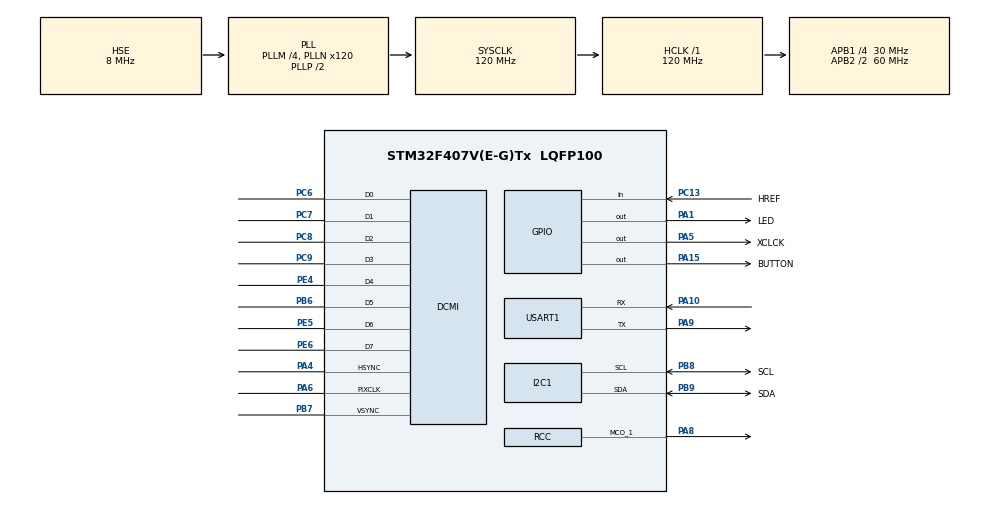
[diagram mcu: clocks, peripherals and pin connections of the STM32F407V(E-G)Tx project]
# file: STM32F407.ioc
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DCMI.HSPolarity=DCMI_HSPOLARITY_HIGH
DCMI.JPEGMode=DCMI_JPEG_DISABLE
DCMI.PCKPolarity=DCMI_PCKPOLARITY_RISING
DCMI.VSPolarity=DCMI_VSPOLARITY_HIGH
Dma.DCMI.0.Direction=DMA_PERIPH_TO_MEMORY
Dma.DCMI.0.FIFOMode=DMA_FIFOMODE_DISABLE
Dma.DCMI.0.Instance=DMA2_Stream1
Dma.DCMI.0.MemDataAlignment=DMA_MDATAALIGN_WORD
Dma.DCMI.0.MemInc=DMA_MINC_ENABLE
Dma.DCMI.0.Mode=DMA_NORMAL
Dma.DCMI.0.PeriphDataAlignment=DMA_PDATAALIGN_WORD
Dma.DCMI.0.PeriphInc=DMA_PINC_DISABLE
Dma.DCMI.0.Priority=DMA_PRIORITY_HIGH
Dma.Request0=DCMI
Dma.Request1=USART1_TX
Dma.USART1_TX.1.Direction=DMA_MEMORY_TO_PERIPH
Dma.USART1_TX.1.FIFOMode=DMA_FIFOMODE_DISABLE
Dma.USART1_TX.1.Instance=DMA2_Stream7
Dma.USART1_TX.1.MemDataAlignment=DMA_MDATAALIGN_BYTE
Dma.USART1_TX.1.MemInc=DMA_MINC_ENABLE
Dma.USART1_TX.1.Mode=DMA_NORMAL
Dma.USART1_TX.1.PeriphDataAlignment=DMA_PDATAALIGN_BYTE
Dma.USART1_TX.1.PeriphInc=DMA_PINC_DISABLE
Dma.USART1_TX.1.Priority=DMA_PRIORITY_LOW
Mcu.Family=STM32F4
Mcu.Name=STM32F407V(E-G)Tx
Mcu.Package=LQFP100
NVIC.DCMI_IRQn=true\:0\:0\:false\:false\:true\:true\:true\:false
NVIC.DMA2_Stream7_IRQn=true\:0\:0\:false\:false\:true\:true\:true\:true
NVIC.PriorityGroup=NVIC_PRIORITYGROUP_4
NVIC.USART1_IRQn=true\:0\:0\:false\:false\:true\:true\:true\:true
PA1.GPIO_Label=LED
PA1.GPIO_PuPd=GPIO_PULLDOWN
PA1.Signal=GPIO_Output
PA10.Mode=Asynchronous
PA10.Signal=USART1_RX
PA13.Mode=Serial_Wire
PA13.Signal=SYS_JTMS-SWDIO
PA14.Mode=Serial_Wire
PA14.Signal=SYS_JTCK-SWCLK
PA15.GPIO_Label=BUTTON
PA15.Signal=GPIO_Output
PA4.GPIO_Mode=GPIO_MODE_AF_PP
PA4.GPIO_PuPd=GPIO_NOPULL
PA4.Mode=Slave_8_bits_External_Synchro
PA4.Signal=DCMI_HSYNC
PA5.GPIO_Label=XCLCK
PA5.GPIO_Speed=GPIO_SPEED_FREQ_MEDIUM
PA5.Signal=GPIO_Output
PA6.GPIO_Mode=GPIO_MODE_AF_PP
PA6.GPIO_PuPd=GPIO_NOPULL
PA6.Mode=Slave_8_bits_External_Synchro
PA6.Signal=DCMI_PIXCLK
PA8.Mode=Clock-out-1
PA8.Signal=RCC_MCO_1
PA9.Mode=Asynchronous
PA9.Signal=USART1_TX
PB6.GPIO_Mode=GPIO_MODE_AF_PP
PB6.GPIO_PuPd=GPIO_NOPULL
PB6.Mode=Slave_8_bits_External_Synchro
PB6.Signal=DCMI_D5
PB7.GPIO_Mode=GPIO_MODE_AF_PP
PB7.GPIO_PuPd=GPIO_NOPULL
PB7.Mode=Slave_8_bits_External_Synchro
PB7.Signal=DCMI_VSYNC
PB8.GPIO_Label=SCL
PB8.Mode=I2C
PB8.Signal=I2C1_SCL
PB9.GPIO_Label=SDA
PB9.Mode=I2C
PB9.Signal=I2C1_SDA
PC13-ANTI_TAMP.GPIO_Label=HREF
PC13-ANTI_TAMP.Signal=GPIO_Input
PC14-OSC32_IN.Mode=LSE-External-Oscillator
PC14-OSC32_IN.Signal=RCC_OSC32_IN
PC15-OSC32_OUT.Mode=LSE-External-Oscillator
PC15-OSC32_OUT.Signal=RCC_OSC32_OUT
PC6.GPIO_Mode=GPIO_MODE_AF_PP
PC6.GPIO_PuPd=GPIO_NOPULL
PC6.Mode=Slave_8_bits_External_Synchro
PC6.Signal=DCMI_D0
PC7.GPIO_Mode=GPIO_MODE_AF_PP
PC7.GPIO_PuPd=GPIO_NOPULL
PC7.Mode=Slave_8_bits_External_Synchro
PC7.Signal=DCMI_D1
PC8.GPIO_Mode=GPIO_MODE_AF_PP
PC8.GPIO_PuPd=GPIO_NOPULL
PC8.Mode=Slave_8_bits_External_Synchro
PC8.Signal=DCMI_D2
PC9.GPIO_Mode=GPIO_MODE_AF_PP
PC9.GPIO_PuPd=GPIO_NOPULL
PC9.Mode=Slave_8_bits_External_Synchro
PC9.Signal=DCMI_D3
PE4.GPIO_Mode=GPIO_MODE_AF_PP
PE4.GPIO_PuPd=GPIO_NOPULL
PE4.Mode=Slave_8_bits_External_Synchro
PE4.Signal=DCMI_D4
PE5.GPIO_Mode=GPIO_MODE_AF_PP
PE5.GPIO_PuPd=GPIO_NOPULL
PE5.Mode=Slave_8_bits_External_Synchro
PE5.Signal=DCMI_D6
PE6.GPIO_Mode=GPIO_MODE_AF_PP
PE6.GPIO_PuPd=GPIO_NOPULL
PE6.Mode=Slave_8_bits_External_Synchro
PE6.Signal=DCMI_D7
PH0-OSC_IN.Mode=HSE-External-Oscillator
PH0-OSC_IN.Signal=RCC_OSC_IN
PH1-OSC_OUT.Mode=HSE-External-Oscillator
PH1-OSC_OUT.Signal=RCC_OSC_OUT
ProjectManager.HeapSize=0x200
ProjectManager.StackSize=0x400
ProjectManager.TargetToolchain=STM32CubeIDE
RCC.48MHZClocksFreq_Value=60000000
RCC.AHBFreq_Value=120000000
RCC.APB1CLKDivider=RCC_HCLK_DIV4
RCC.APB1Freq_Value=30000000
RCC.APB1TimFreq_Value=60000000
RCC.APB2CLKDivider=RCC_HCLK_DIV2
RCC.APB2Freq_Value=60000000
RCC.APB2TimFreq_Value=120000000
RCC.CortexFreq_Value=120000000
RCC.EnbaleCSS=true
RCC.HCLKFreq_Value=120000000
RCC.HSE_VALUE=8000000
RCC.HSI_VALUE=16000000
RCC.PLLM=4
RCC.PLLN=120
RCC.PLLSourceVirtual=RCC_PLLSOURCE_HSE
RCC.RCC_MCO1Source=RCC_MCO1SOURCE_PLLCLK
RCC.RCC_MCODiv1=RCC_MCODIV_5
RCC.SYSCLKFreq_VALUE=120000000
RCC.SYSCLKSource=RCC_SYSCLKSOURCE_PLLCLK
RCC.VCOOutputFreq_Value=240000000
USART1.VirtualMode=VM_ASYNC
board=custom

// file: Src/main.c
/* USER CODE BEGIN Header */
/**
  ******************************************************************************
  * @file           : main.c
  * @brief          : Main program body
  ******************************************************************************
  * @attention
  *
  * Copyright (c) 2024 STMicroelectronics.
  * All rights reserved.
  *
  * This software is licensed under terms that can be found in the LICENSE file
  * in the root directory of this software component.
  * If no LICENSE file comes with this software, it is provided AS-IS.
  *
  ******************************************************************************
  */
/* USER CODE END Header */
#include "main.h"

/* USER CODE BEGIN Includes */
#include "stdio.h"
/* USER CODE END Includes */

DCMI_HandleTypeDef hdcmi;
DMA_HandleTypeDef hdma_dcmi;

I2C_HandleTypeDef hi2c1;

UART_HandleTypeDef huart1;
DMA_HandleTypeDef hdma_usart1_tx;

/* USER CODE BEGIN PV */
uint8_t i2c_buffer[3];
//uint32_t img_buffer[IMAGE_HEIGHT * IMAGE_WIDTH * 2];
/* USER CODE END PV */

void SystemClock_Config(void);
static void MX_GPIO_Init(void);
static void MX_DMA_Init(void);
static void MX_DCMI_Init(void);
static void MX_I2C1_Init(void);
static void MX_USART1_UART_Init(void);

/* USER CODE BEGIN 0 */
int fputc(int ch, FILE *f)
{
    uint8_t temp[1] = {ch};
    HAL_UART_Transmit(&huart1, temp, 1, 2);
    return ch;
}
inline void I2C_SET_Register(uint8_t addr, uint8_t value)
{
    i2c_buffer[0] = addr;
    i2c_buffer[1] = value;
    HAL_I2C_Master_Transmit(&hi2c1, OV7670_ADDR, i2c_buffer, 2, 1000);
}

void HAL_GPIO_EXTI_Callback(uint16_t GPIO_Pin) {
    if (GPIO_Pin == BUTTON_Pin && HAL_DCMI_GetState(&hdcmi) != HAL_DCMI_STATE_READY && !HAL_UART_GetState(&huart1)) {
      printf("Button pressed\n");
      HAL_DCMI_Start_DMA(&hdcmi, DCMI_MODE_SNAPSHOT, (uint32_t)FRAME_BUFFER, IMAGE_HEIGHT*IMAGE_WIDTH*2/4);
    }
}

void DCMI_CpltCallback(DCMI_HandleTypeDef *hdcmi_) {
    if (hdcmi_->Instance == DCMI) {
        HAL_UART_Transmit_DMA(&huart1, (uint8_t *)FRAME_BUFFER, IMAGE_HEIGHT*IMAGE_WIDTH*2);
    }
}

void HAL_UART_TxCpltCallback(UART_HandleTypeDef *huart) {
    if (huart->Instance == USART2) {
        HAL_GPIO_TogglePin(GPIOA, GPIO_PIN_15);
    }
}
void OV7670_Init()
{
    I2C_SET_Register(COM3_ADDR, COM3_ZOOM|COM3_DCW_PCLK);
    I2C_SET_Register(COM14_ADDR, COM14_QVGA|COM14_SCALE_ENABLE);
    I2C_SET_Register(COM15_ADDR, COM15_RGB565);
    I2C_SET_Register(COM7_ADDR, COM7_QVGA|COM7_RGB);
    I2C_SET_Register(SCALING_DCW_CTR,SCALING_DCW_CTR_DSH4|SCALING_DCW_CTR_DSV4);
};
/* USER CODE END 0 */

int main(void)
{

  /* MCU Configuration--------------------------------------------------------*/

  /* Reset of all peripherals, Initializes the Flash interface and the Systick. */
  HAL_Init();

  /* USER CODE BEGIN Init */
//  OV7670_Init();
  /* USER CODE END Init */

  /* Configure the system clock */
  SystemClock_Config();

  /* Initialize all configured peripherals */
  MX_GPIO_Init();
  MX_DMA_Init();
  MX_DCMI_Init();
  MX_I2C1_Init();
  MX_USART1_UART_Init();
  /* USER CODE BEGIN 2 */
//  HAL_FLASH_Unlock();
  /* USER CODE END 2 */

  /* Infinite loop */
  while (1)
  {

    /* USER CODE BEGIN 3 */
    printf("Hello world!\n");
    HAL_GPIO_TogglePin(GPIOA,GPIO_PIN_1);
    HAL_Delay(1000);
  }
  /* USER CODE END 3 */
}

void SystemClock_Config(void)
{
  RCC_OscInitTypeDef RCC_OscInitStruct = {0};
  RCC_ClkInitTypeDef RCC_ClkInitStruct = {0};

  /** Configure the main internal regulator output voltage
  */
  __HAL_RCC_PWR_CLK_ENABLE();
  __HAL_PWR_VOLTAGESCALING_CONFIG(PWR_REGULATOR_VOLTAGE_SCALE1);

  /** Initializes the RCC Oscillators according to the specified parameters
  * in the RCC_OscInitTypeDef structure.
  */
  RCC_OscInitStruct.OscillatorType = RCC_OSCILLATORTYPE_HSE;
  RCC_OscInitStruct.HSEState = RCC_HSE_ON;
  RCC_OscInitStruct.PLL.PLLState = RCC_PLL_ON;
  RCC_OscInitStruct.PLL.PLLSource = RCC_PLLSOURCE_HSE;
  RCC_OscInitStruct.PLL.PLLM = 4;
  RCC_OscInitStruct.PLL.PLLN = 120;
  RCC_OscInitStruct.PLL.PLLP = RCC_PLLP_DIV2;
  RCC_OscInitStruct.PLL.PLLQ = 4;
  if (HAL_RCC_OscConfig(&RCC_OscInitStruct) != HAL_OK)
  {
    Error_Handler();
  }

  /** Initializes the CPU, AHB and APB buses clocks
  */
  RCC_ClkInitStruct.ClockType = RCC_CLOCKTYPE_HCLK|RCC_CLOCKTYPE_SYSCLK
                              |RCC_CLOCKTYPE_PCLK1|RCC_CLOCKTYPE_PCLK2;
  RCC_ClkInitStruct.SYSCLKSource = RCC_SYSCLKSOURCE_PLLCLK;
  RCC_ClkInitStruct.AHBCLKDivider = RCC_SYSCLK_DIV1;
  RCC_ClkInitStruct.APB1CLKDivider = RCC_HCLK_DIV4;
  RCC_ClkInitStruct.APB2CLKDivider = RCC_HCLK_DIV2;

  if (HAL_RCC_ClockConfig(&RCC_ClkInitStruct, FLASH_LATENCY_3) != HAL_OK)
  {
    Error_Handler();
  }
  HAL_RCC_MCOConfig(RCC_MCO1, RCC_MCO1SOURCE_PLLCLK, RCC_MCODIV_5);

  /** Enables the Clock Security System
  */
  HAL_RCC_EnableCSS();
}

static void MX_DCMI_Init(void)
{

  hdcmi.Instance = DCMI;
  hdcmi.Init.SynchroMode = DCMI_SYNCHRO_HARDWARE;
  hdcmi.Init.PCKPolarity = DCMI_PCKPOLARITY_RISING;
  hdcmi.Init.VSPolarity = DCMI_VSPOLARITY_HIGH;
  hdcmi.Init.HSPolarity = DCMI_HSPOLARITY_HIGH;
  hdcmi.Init.CaptureRate = DCMI_CR_ALL_FRAME;
  hdcmi.Init.ExtendedDataMode = DCMI_EXTEND_DATA_8B;
  hdcmi.Init.JPEGMode = DCMI_JPEG_DISABLE;
  if (HAL_DCMI_Init(&hdcmi) != HAL_OK)
  {
    Error_Handler();
  }

}

static void MX_I2C1_Init(void)
{

  hi2c1.Instance = I2C1;
  hi2c1.Init.ClockSpeed = 100000;
  hi2c1.Init.DutyCycle = I2C_DUTYCYCLE_2;
  hi2c1.Init.OwnAddress1 = 0;
  hi2c1.Init.AddressingMode = I2C_ADDRESSINGMODE_7BIT;
  hi2c1.Init.DualAddressMode = I2C_DUALADDRESS_DISABLE;
  hi2c1.Init.OwnAddress2 = 0;
  hi2c1.Init.GeneralCallMode = I2C_GENERALCALL_DISABLE;
  hi2c1.Init.NoStretchMode = I2C_NOSTRETCH_DISABLE;
  if (HAL_I2C_Init(&hi2c1) != HAL_OK)
  {
    Error_Handler();
  }

}

static void MX_USART1_UART_Init(void)
{

  huart1.Instance = USART1;
  huart1.Init.BaudRate = 115200;
  huart1.Init.WordLength = UART_WORDLENGTH_8B;
  huart1.Init.StopBits = UART_STOPBITS_1;
  huart1.Init.Parity = UART_PARITY_NONE;
  huart1.Init.Mode = UART_MODE_TX_RX;
  huart1.Init.HwFlowCtl = UART_HWCONTROL_NONE;
  huart1.Init.OverSampling = UART_OVERSAMPLING_16;
  if (HAL_UART_Init(&huart1) != HAL_OK)
  {
    Error_Handler();
  }

}

static void MX_DMA_Init(void)
{

  /* DMA controller clock enable */
  __HAL_RCC_DMA2_CLK_ENABLE();

  /* DMA interrupt init */
  /* DMA2_Stream7_IRQn interrupt configuration */
  HAL_NVIC_SetPriority(DMA2_Stream7_IRQn, 0, 0);
  HAL_NVIC_EnableIRQ(DMA2_Stream7_IRQn);

}

static void MX_GPIO_Init(void)
{
  GPIO_InitTypeDef GPIO_InitStruct = {0};

  /* GPIO Ports Clock Enable */
  __HAL_RCC_GPIOE_CLK_ENABLE();
  __HAL_RCC_GPIOC_CLK_ENABLE();
  __HAL_RCC_GPIOH_CLK_ENABLE();
  __HAL_RCC_GPIOA_CLK_ENABLE();
  __HAL_RCC_GPIOB_CLK_ENABLE();

  /*Configure GPIO pin Output Level */
  HAL_GPIO_WritePin(GPIOA, LED_Pin|XCLCK_Pin|BUTTON_Pin, GPIO_PIN_RESET);

  /*Configure GPIO pin : HREF_Pin */
  GPIO_InitStruct.Pin = HREF_Pin;
  GPIO_InitStruct.Mode = GPIO_MODE_INPUT;
  GPIO_InitStruct.Pull = GPIO_NOPULL;
  HAL_GPIO_Init(HREF_GPIO_Port, &GPIO_InitStruct);

  /*Configure GPIO pin : LED_Pin */
  GPIO_InitStruct.Pin = LED_Pin;
  GPIO_InitStruct.Mode = GPIO_MODE_OUTPUT_PP;
  GPIO_InitStruct.Pull = GPIO_PULLDOWN;
  GPIO_InitStruct.Speed = GPIO_SPEED_FREQ_LOW;
  HAL_GPIO_Init(LED_GPIO_Port, &GPIO_InitStruct);

  /*Configure GPIO pin : XCLCK_Pin */
  GPIO_InitStruct.Pin = XCLCK_Pin;
  GPIO_InitStruct.Mode = GPIO_MODE_OUTPUT_PP;
  GPIO_InitStruct.Pull = GPIO_NOPULL;
  GPIO_InitStruct.Speed = GPIO_SPEED_FREQ_MEDIUM;
  HAL_GPIO_Init(XCLCK_GPIO_Port, &GPIO_InitStruct);

  /*Configure GPIO pin : PA8 */
  GPIO_InitStruct.Pin = GPIO_PIN_8;
  GPIO_InitStruct.Mode = GPIO_MODE_AF_PP;
  GPIO_InitStruct.Pull = GPIO_NOPULL;
  GPIO_InitStruct.Speed = GPIO_SPEED_FREQ_LOW;
  GPIO_InitStruct.Alternate = GPIO_AF0_MCO;
  HAL_GPIO_Init(GPIOA, &GPIO_InitStruct);

  /*Configure GPIO pin : BUTTON_Pin */
  GPIO_InitStruct.Pin = BUTTON_Pin;
  GPIO_InitStruct.Mode = GPIO_MODE_OUTPUT_PP;
  GPIO_InitStruct.Pull = GPIO_NOPULL;
  GPIO_InitStruct.Speed = GPIO_SPEED_FREQ_LOW;
  HAL_GPIO_Init(BUTTON_GPIO_Port, &GPIO_InitStruct);

}

void Error_Handler(void)
{
  __disable_irq();
  while (1)
  {
  }
}
